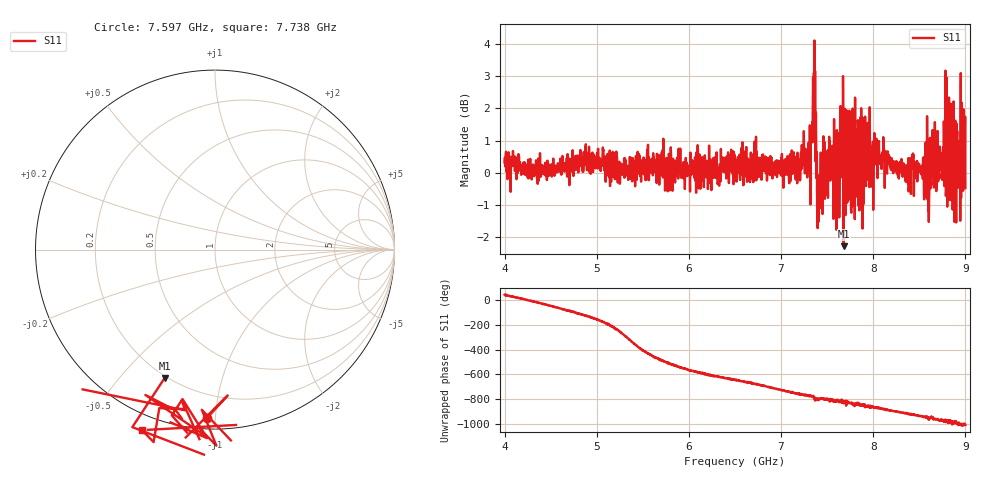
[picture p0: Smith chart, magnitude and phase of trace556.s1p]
! Created with skrf 1.8.0 (http://scikit-rf.org).
# Hz S RI R 50.0
!freq ReS11 ImS11
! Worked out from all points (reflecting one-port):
!   1601 points, 4 GHz to 9 GHz, reference 50 ohm
!   lowest |S11| = -2.3 dB at 7.678 GHz (marker M1), VSWR 7.66, Z = 9.49 - j33.2 ohm
!   phase of S11 starts at 41 deg and turns -1050 deg over the sweep
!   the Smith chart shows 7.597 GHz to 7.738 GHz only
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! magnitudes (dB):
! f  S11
! 4 GHz  0.3
! 4.625 GHz  0.3
! 4.894 GHz  0.1
! 5.25 GHz  -0.3
! 5.875 GHz  -0.1
! 6.5 GHz  0.2
! 7.125 GHz  0.4
! 7.294 GHz  0.0
! 7.347 GHz  3.0
! 7.369 GHz  3.2
! 7.397 GHz  -1.7
! 7.416 GHz  -1.1
! 7.481 GHz  -0.5
! 7.538 GHz  0.6
! 7.591 GHz  0.3
! 7.666 GHz  2.1
! 7.678 GHz  -2.3
! 7.703 GHz  -0.8
! 7.75 GHz  -0.3
! 7.928 GHz  0.7
! 7.981 GHz  -0.4
! 8.038 GHz  0.2
! 8.375 GHz  -0.2
! 8.603 GHz  -1.5
! 8.788 GHz  -0.7
! 8.875 GHz  0.3
! 8.972 GHz  0.8
! 9 GHz  -0.5
